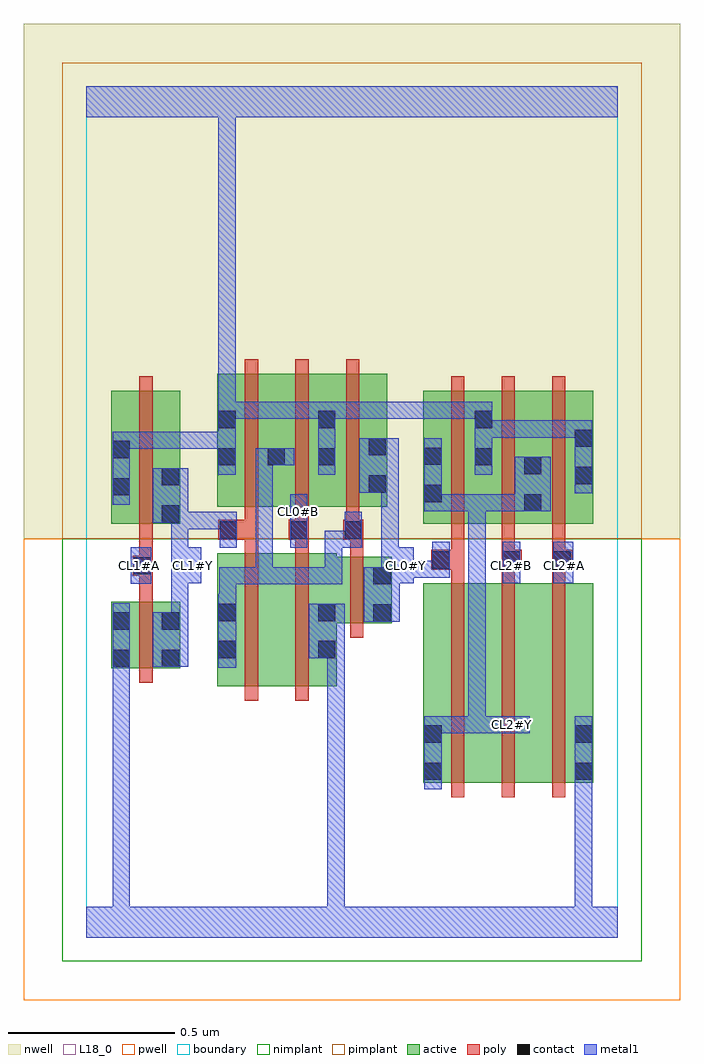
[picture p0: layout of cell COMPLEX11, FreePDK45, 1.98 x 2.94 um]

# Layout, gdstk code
import gdstk
lib = gdstk.Library(unit=1e-6, precision=1e-09)
def R(c, l, rs):  # rectangles x0, y0, x1, y1
    for r in rs: c.add(gdstk.rectangle(r[:2], r[2:], *l))
def A(c, l, x, y, w, h, nx, ny, dx, dy):  # array of equal rectangles
    R(c, l, [(x+i*dx, y+j*dy, x+i*dx+w, y+j*dy+h) for i in range(nx) for j in range(ny)])
active = (1, 0)
pwell = (2, 0)
nwell = (3, 0)
nimplant = (4, 0)
pimplant = (5, 0)
poly = (9, 0)
contact = (10, 0)
metal1 = (11, 0)
L18_0 = (18, 0)
boundary = (235, 0)

complex11 = lib.new_cell('COMPLEX11')
A(complex11, active, 0.542, 1.296, 0.06, 0.348, 3, 1, 0.152, 0)
R(complex11, active, [(1.014,0.466,1.074,1.066), (1.014,0.466,1.194,1.066), (1.194,0.466,1.346,1.066), (1.346,0.466,1.526,1.066), (1.466,0.466,1.526,1.066), (0.394,0.756,0.574,1.156), (0.394,0.756,0.454,1.156), (0.574,0.756,0.754,1.156), (0.076,0.81,0.136,1.01), (0.076,0.81,0.284,1.01), (0.224,0.81,0.284,1.01), (0.694,0.836,0.754,1.146), (0.694,0.946,0.92,1.146), (0.86,0.946,0.92,1.146), (0.076,1.244,0.136,1.644), (0.076,1.244,0.284,1.644), (0.224,1.244,0.284,1.644), (1.014,1.244,1.074,1.644), (1.014,1.244,1.226,1.644), (1.166,1.244,1.374,1.644), (1.314,1.244,1.526,1.644), (1.466,1.244,1.526,1.644), (1.314,1.278,1.374,1.644), (0.394,1.296,0.454,1.696), (0.394,1.296,0.602,1.696), (0.542,1.296,0.754,1.696), (0.694,1.296,0.906,1.696), (1.166,1.306,1.226,1.644)])
R(complex11, pwell, [(-0.188,-0.188,1.788,1.2)])
R(complex11, nwell, [(-0.188,1.2,1.788,2.748)])
R(complex11, nimplant, [(-0.072,-0.072,1.672,1.2)])
R(complex11, pimplant, [(-0.072,1.2,1.672,2.632)])
A(complex11, poly, 1.098, 0.422, 0.04, 0.688, 3, 1, 0.152, 0)
A(complex11, poly, 1.098, 1.07, 0.04, 0.076, 3, 1, 0.152, 0)
A(complex11, poly, 1.098, 1.126, 0.04, 0.114, 3, 1, 0.152, 0)
A(complex11, poly, 1.098, 1.2, 0.04, 0.488, 3, 1, 0.152, 0)
A(complex11, poly, 0.478, 1.216, 0.04, 0.076, 3, 1, 0.152, 0)
A(complex11, poly, 0.478, 1.252, 0.04, 0.488, 3, 1, 0.152, 0)
R(complex11, poly, [(0.478,0.712,0.518,1.2), (0.63,0.712,0.67,1.2), (0.16,0.766,0.2,1.054), (0.794,0.902,0.834,1.19), (0.16,1.014,0.2,1.128), (0.14,1.088,0.2,1.148), (0.16,1.088,0.2,1.128), (0.16,1.088,0.2,1.128), (1.038,1.106,1.138,1.166), (1.25,1.106,1.29,1.146), (1.25,1.106,1.29,1.146), (1.25,1.106,1.31,1.166), (1.402,1.106,1.462,1.166), (0.16,1.108,0.2,1.24), (1.098,1.126,1.138,1.166), (1.098,1.126,1.138,1.166), (1.402,1.126,1.442,1.166), (1.402,1.126,1.442,1.166), (0.794,1.15,0.834,1.236), (0.478,1.16,0.518,1.236), (0.63,1.16,0.67,1.236), (0.398,1.196,0.518,1.256), (0.478,1.196,0.518,1.236), (0.478,1.196,0.518,1.236), (0.61,1.196,0.67,1.256), (0.63,1.196,0.67,1.236), (0.63,1.196,0.67,1.236), (0.774,1.196,0.834,1.256), (0.16,1.2,0.2,1.688), (0.782,1.216,0.822,1.256), (0.782,1.216,0.822,1.256)])
R(complex11, contact, [(1.018,0.474,1.07,0.526), (1.47,0.474,1.522,0.526), (1.018,0.586,1.07,0.638), (1.47,0.586,1.522,0.638), (0.08,0.814,0.132,0.866), (0.228,0.814,0.28,0.866), (0.398,0.84,0.45,0.892), (0.698,0.84,0.75,0.892), (0.08,0.926,0.132,0.978), (0.228,0.926,0.28,0.978), (0.864,0.95,0.916,1.002), (0.398,0.952,0.45,1.004), (0.698,0.952,0.75,1.004), (0.864,1.062,0.916,1.114), (0.144,1.092,0.196,1.144), (1.042,1.11,1.094,1.162), (1.254,1.11,1.306,1.162), (1.406,1.11,1.458,1.162), (0.402,1.2,0.454,1.252), (0.614,1.2,0.666,1.252), (0.778,1.2,0.83,1.252), (0.228,1.248,0.28,1.3), (1.318,1.282,1.37,1.334), (1.018,1.31,1.07,1.362), (0.08,1.33,0.132,1.382), (0.85,1.338,0.902,1.39), (0.228,1.36,0.28,1.412), (1.47,1.364,1.522,1.416), (1.318,1.394,1.37,1.446), (0.398,1.42,0.45,1.472), (0.546,1.42,0.598,1.472), (0.698,1.42,0.75,1.472), (1.17,1.42,1.222,1.472), (1.018,1.422,1.07,1.474), (0.08,1.442,0.132,1.494), (0.85,1.45,0.902,1.502), (1.47,1.476,1.522,1.528), (0.398,1.532,0.45,1.584), (0.698,1.532,0.75,1.584), (1.17,1.532,1.222,1.584)])
R(complex11, metal1, [(0,0,1.6,0.092), (0.08,0.04,0.132,0.092), (0.08,0.04,0.132,0.092), (0.08,0.04,0.132,0.092), (0.08,0.04,0.132,0.092), (0.08,0.04,0.132,0.092), (0.08,0.04,0.132,0.092), (0.08,0.04,0.132,0.092), (0.08,0.04,0.132,0.092), (0.08,0.04,0.132,0.092), (0.08,0.04,0.132,0.092), (0.08,0.04,0.132,0.092), (0.08,0.04,0.132,0.092), (0.08,0.04,0.132,0.092), (0.08,0.04,0.132,0.092), (0.08,0.04,0.132,0.092), (0.08,0.04,0.132,0.092), (0.08,0.04,0.132,0.838), (0.726,0.04,0.778,0.092), (0.726,0.04,0.778,0.092), (0.726,0.04,0.778,0.092), (0.726,0.04,0.778,0.092), (0.726,0.04,0.778,0.892), (1.47,0.04,1.522,0.092), (1.47,0.04,1.522,0.092), (1.47,0.04,1.522,0.498), (1.018,0.446,1.07,0.666), (1.47,0.446,1.522,0.498), (1.47,0.446,1.522,0.498), (1.47,0.446,1.522,0.498), (1.47,0.446,1.522,0.498), (1.47,0.446,1.522,0.498), (1.47,0.446,1.522,0.498), (1.47,0.446,1.522,0.666), (1.018,0.614,1.196,0.666), (1.144,0.614,1.196,0.666), (1.144,0.614,1.202,0.666), (1.15,0.614,1.202,0.666), (1.15,0.614,1.202,0.666), (1.15,0.614,1.202,0.666), (1.15,0.614,1.202,0.666), (1.15,0.614,1.202,1.334), (1.15,0.614,1.334,0.666), (0.08,0.786,0.132,1.006), (0.398,0.812,0.452,1.032), (0.2,0.814,0.308,0.978), (0.67,0.84,0.778,1.004), (0.726,0.84,0.778,0.892), (0.726,0.84,0.778,0.892), (0.726,0.84,0.778,0.892), (0.726,0.84,0.778,0.892), (0.726,0.84,0.778,0.892), (0.726,0.84,0.778,0.892), (0.726,0.84,0.778,0.892), (0.726,0.84,0.778,0.892), (0.256,0.926,0.308,1.118), (0.836,0.95,0.944,1.114), (0.4,0.98,0.452,1.114), (0.4,1.062,0.452,1.114), (0.4,1.062,0.456,1.114), (0.404,1.062,0.456,1.114), (0.404,1.062,0.562,1.114), (0.51,1.062,0.562,1.114), (0.51,1.062,0.566,1.114), (0.51,1.062,0.562,1.472), (0.514,1.062,0.566,1.114), (0.514,1.062,0.77,1.114), (0.718,1.062,0.77,1.224), (0.888,1.062,0.94,1.118), (0.134,1.064,0.196,1.174), (0.256,1.066,0.346,1.174), (0.888,1.066,0.986,1.174), (1.254,1.066,1.306,1.19), (1.406,1.066,1.466,1.19), (0.934,1.082,0.986,1.134), (0.934,1.082,0.986,1.134), (0.934,1.082,1.094,1.134), (1.042,1.082,1.094,1.19), (0.256,1.122,0.308,1.28), (0.888,1.122,0.94,1.174), (0.888,1.122,0.94,1.174), (0.888,1.122,0.94,1.39), (0.402,1.172,0.454,1.28), (0.614,1.172,0.666,1.334), (0.718,1.172,0.83,1.224), (0.778,1.172,0.83,1.28), (0.256,1.228,0.308,1.28), (0.256,1.228,0.308,1.28), (0.256,1.228,0.454,1.28), (0.256,1.228,0.308,1.3), (0.2,1.248,0.308,1.412), (0.256,1.248,0.308,1.3), (1.018,1.282,1.07,1.502), (1.018,1.282,1.196,1.334), (1.144,1.282,1.196,1.334), (1.144,1.282,1.202,1.334), (1.15,1.282,1.202,1.334), (1.15,1.282,1.342,1.334), (1.29,1.282,1.342,1.334), (1.29,1.282,1.342,1.334), (1.29,1.282,1.398,1.446), (0.08,1.302,0.132,1.522), (1.47,1.336,1.522,1.556), (0.822,1.338,0.94,1.502), (0.398,1.392,0.45,1.612), (0.698,1.392,0.75,1.612), (1.17,1.392,1.222,1.612), (0.51,1.42,0.562,1.472), (0.51,1.42,0.562,1.472), (0.51,1.42,0.626,1.472), (0.08,1.47,0.132,1.522), (0.08,1.47,0.132,1.522), (0.08,1.47,0.248,1.522), (0.196,1.47,0.248,1.522), (0.196,1.47,0.45,1.522), (1.17,1.504,1.348,1.556), (1.296,1.504,1.348,1.556), (1.296,1.504,1.348,1.556), (1.296,1.504,1.348,1.556), (1.296,1.504,1.522,1.556), (1.47,1.504,1.522,1.556), (1.47,1.504,1.522,1.556), (0.398,1.56,0.456,1.612), (0.398,1.56,0.45,2.52), (0.404,1.56,0.456,1.612), (0.404,1.56,0.612,1.612), (0.56,1.56,0.612,1.612), (0.56,1.56,0.612,1.612), (0.56,1.56,0.612,1.612), (0.56,1.56,0.75,1.612), (0.698,1.56,0.75,1.612), (0.698,1.56,0.75,1.612), (0.698,1.56,0.984,1.612), (0.932,1.56,0.984,1.612), (0.932,1.56,0.984,1.612), (0.932,1.56,0.984,1.612), (0.932,1.56,1.096,1.612), (1.044,1.56,1.096,1.612), (1.044,1.56,1.222,1.612), (0,2.468,1.6,2.56), (0.398,2.468,0.45,2.52), (0.398,2.468,0.45,2.52), (0.398,2.468,0.45,2.52), (0.398,2.468,0.45,2.52), (0.398,2.468,0.45,2.52), (0.398,2.468,0.45,2.52), (0.398,2.468,0.45,2.52), (0.398,2.468,0.45,2.52), (0.398,2.468,0.45,2.52), (0.398,2.468,0.45,2.52), (0.398,2.468,0.45,2.52), (0.398,2.468,0.45,2.52), (0.398,2.468,0.45,2.52), (0.398,2.468,0.45,2.52), (0.398,2.468,0.45,2.52), (0.398,2.468,0.45,2.52)])
R(complex11, L18_0, [(0,0,1.6,0.092), (0.08,0.04,0.132,0.092), (0.08,0.04,0.132,0.092), (0.08,0.04,0.132,0.092), (0.08,0.04,0.132,0.092), (0.08,0.04,0.132,0.092), (0.08,0.04,0.132,0.092), (0.08,0.04,0.132,0.092), (0.08,0.04,0.132,0.092), (0.08,0.04,0.132,0.092), (0.08,0.04,0.132,0.092), (0.08,0.04,0.132,0.092), (0.08,0.04,0.132,0.092), (0.08,0.04,0.132,0.092), (0.08,0.04,0.132,0.092), (0.08,0.04,0.132,0.092), (0.08,0.04,0.132,0.092), (0.08,0.04,0.132,0.838), (0.726,0.04,0.778,0.092), (0.726,0.04,0.778,0.092), (0.726,0.04,0.778,0.092), (0.726,0.04,0.778,0.092), (0.726,0.04,0.778,0.892), (1.47,0.04,1.522,0.092), (1.47,0.04,1.522,0.092), (1.47,0.04,1.522,0.498), (1.018,0.446,1.07,0.666), (1.47,0.446,1.522,0.498), (1.47,0.446,1.522,0.498), (1.47,0.446,1.522,0.498), (1.47,0.446,1.522,0.498), (1.47,0.446,1.522,0.498), (1.47,0.446,1.522,0.498), (1.47,0.446,1.522,0.666), (1.018,0.614,1.196,0.666), (1.144,0.614,1.196,0.666), (1.144,0.614,1.202,0.666), (1.15,0.614,1.202,0.666), (1.15,0.614,1.202,0.666), (1.15,0.614,1.202,0.666), (1.15,0.614,1.202,0.666), (1.15,0.614,1.334,0.666), (1.15,0.614,1.202,1.334), (1.254,0.614,1.306,0.666), (0.08,0.786,0.132,1.006), (0.2,0.814,0.308,0.978), (0.67,0.84,0.778,1.004), (0.726,0.84,0.778,0.892), (0.726,0.84,0.778,0.892), (0.726,0.84,0.778,0.892), (0.726,0.84,0.778,0.892), (0.726,0.84,0.778,0.892), (0.726,0.84,0.778,0.892), (0.726,0.84,0.778,0.892), (0.726,0.84,0.778,0.892), (0.256,0.926,0.308,1.118), (0.836,0.95,0.944,1.114), (0.888,1.062,0.94,1.118), (0.134,1.064,0.196,1.174), (0.256,1.066,0.346,1.174), (0.888,1.066,0.986,1.174), (1.254,1.066,1.306,1.19), (1.406,1.066,1.466,1.19), (0.934,1.082,0.986,1.134), (0.934,1.082,0.986,1.134), (0.934,1.082,1.094,1.134), (1.042,1.082,1.094,1.19), (0.134,1.094,0.186,1.146), (0.294,1.094,0.346,1.146), (0.934,1.094,0.986,1.146), (1.254,1.094,1.306,1.146), (1.414,1.094,1.466,1.146), (0.256,1.122,0.308,1.28), (0.888,1.122,0.94,1.174), (0.888,1.122,0.94,1.174), (0.888,1.122,0.94,1.39), (0.402,1.172,0.454,1.28), (0.614,1.172,0.666,1.334), (0.256,1.228,0.308,1.28), (0.256,1.228,0.308,1.28), (0.256,1.228,0.308,1.3), (0.256,1.228,0.454,1.28), (0.2,1.248,0.308,1.412), (0.256,1.248,0.308,1.3), (0.614,1.254,0.666,1.306), (1.018,1.282,1.07,1.502), (1.018,1.282,1.196,1.334), (1.144,1.282,1.196,1.334), (1.144,1.282,1.202,1.334), (1.15,1.282,1.202,1.334), (1.15,1.282,1.342,1.334), (1.29,1.282,1.342,1.334), (1.29,1.282,1.342,1.334), (1.29,1.282,1.398,1.446), (0.08,1.302,0.132,1.522), (1.47,1.336,1.522,1.556), (0.822,1.338,0.94,1.502), (0.398,1.392,0.45,1.612), (0.698,1.392,0.75,1.612), (1.17,1.392,1.222,1.612), (0.08,1.47,0.132,1.522), (0.08,1.47,0.132,1.522), (0.08,1.47,0.248,1.522), (0.196,1.47,0.248,1.522), (0.196,1.47,0.45,1.522), (1.17,1.504,1.348,1.556), (1.296,1.504,1.348,1.556), (1.296,1.504,1.348,1.556), (1.296,1.504,1.348,1.556), (1.296,1.504,1.522,1.556), (1.47,1.504,1.522,1.556), (1.47,1.504,1.522,1.556), (0.398,1.56,0.45,2.52), (0.398,1.56,0.456,1.612), (0.404,1.56,0.456,1.612), (0.404,1.56,0.612,1.612), (0.56,1.56,0.612,1.612), (0.56,1.56,0.612,1.612), (0.56,1.56,0.612,1.612), (0.56,1.56,0.75,1.612), (0.698,1.56,0.75,1.612), (0.698,1.56,0.75,1.612), (0.698,1.56,0.984,1.612), (0.932,1.56,0.984,1.612), (0.932,1.56,0.984,1.612), (0.932,1.56,0.984,1.612), (0.932,1.56,1.096,1.612), (1.044,1.56,1.096,1.612), (1.044,1.56,1.222,1.612), (0,2.468,1.6,2.56), (0.398,2.468,0.45,2.52), (0.398,2.468,0.45,2.52), (0.398,2.468,0.45,2.52), (0.398,2.468,0.45,2.52), (0.398,2.468,0.45,2.52), (0.398,2.468,0.45,2.52), (0.398,2.468,0.45,2.52), (0.398,2.468,0.45,2.52), (0.398,2.468,0.45,2.52), (0.398,2.468,0.45,2.52), (0.398,2.468,0.45,2.52), (0.398,2.468,0.45,2.52), (0.398,2.468,0.45,2.52), (0.398,2.468,0.45,2.52), (0.398,2.468,0.45,2.52), (0.398,2.468,0.45,2.52)])
R(complex11, boundary, [(0,0,1.6,2.56)])
complex11.add(gdstk.Label('CL0#B', (0.64,1.28), layer=11, texttype=0))
complex11.add(gdstk.Label('CL0#Y', (0.96,1.12), layer=11, texttype=0))
complex11.add(gdstk.Label('CL1#A', (0.16,1.12), layer=11, texttype=0))
complex11.add(gdstk.Label('CL1#Y', (0.32,1.12), layer=11, texttype=0))
complex11.add(gdstk.Label('CL2#A', (1.44,1.12), layer=11, texttype=0))
complex11.add(gdstk.Label('CL2#B', (1.28,1.12), layer=11, texttype=0))
complex11.add(gdstk.Label('CL2#Y', (1.28,0.64), layer=11, texttype=0))

lib.write_gds('COMPLEX11.gds')
